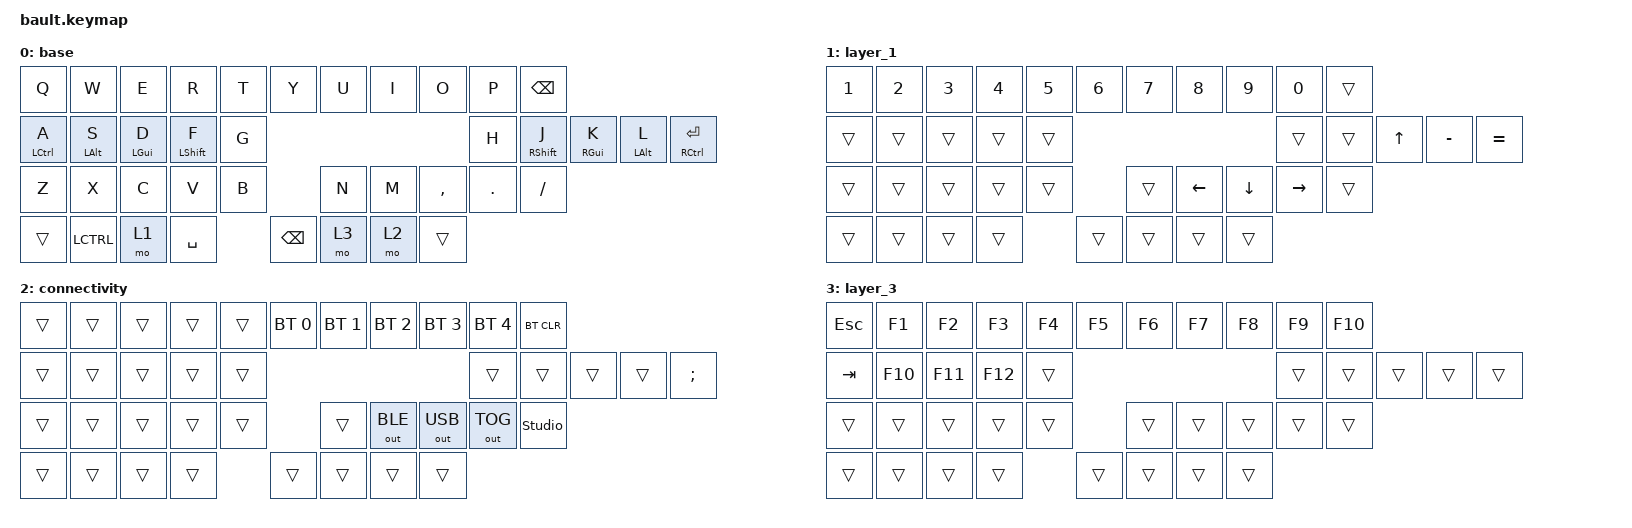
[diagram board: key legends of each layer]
#include <behaviors.dtsi>
#include <dt-bindings/zmk/keys.h>
#include <dt-bindings/zmk/bt.h>
#include <dt-bindings/zmk/outputs.h>

/ {

    behaviors {
        hm: homerow_mods {
            compatible = "zmk,behavior-hold-tap";
            display-name = "Homerow Mods";
            bindings = <&kp>, <&kp>;

            #binding-cells = <2>;
            tapping-term-ms = <200>;
            quick-tap-ms = <180>;
            require-prior-idle-ms = <0>;
            flavor = "tap-preferred";
        };
    };


    keymap {
        compatible = "zmk,keymap";

        base {
            bindings = <
                &kp Q      &kp W      &kp E      &kp R      &kp T      &kp Y      &kp U      &kp I      &kp O      &kp P      &kp BACKSPACE
                &hm LEFT_CONTROL A  &hm LEFT_ALT S  &hm LGUI D  &hm LEFT_SHIFT F  &kp G      &kp H      &hm RIGHT_SHIFT J  &hm RIGHT_GUI K  &hm LEFT_ALT L  &hm RCTRL ENTER
                &kp Z      &kp X      &kp C      &kp V      &kp B      &kp N      &kp M      &kp COMMA      &kp PERIOD      &kp SLASH
                &trans      &LCTRL      &mo 1      &kp SPACE      &kp BACKSPACE      &mo 3      &mo 2      &trans
            >;
        };


        layer_1 {
            bindings = <
                &kp N1  &kp N2  &kp N3  &kp N4  &kp N5  &kp N6  &kp N7    &kp N8    &kp N9     &kp N0     &trans
                &trans  &trans  &trans  &trans  &trans  &trans  &trans    &kp UP    &kp MINUS  &kp EQUAL
                &trans  &trans  &trans  &trans  &trans  &trans  &kp LEFT  &kp DOWN  &kp RIGHT  &trans
                &trans   &trans  &trans  &trans  &trans       &trans         &trans &trans
            >;
        };


        connectivity {
            bindings = <
                &trans  &trans  &trans  &trans  &trans  &bt BT_SEL 0  &bt BT_SEL 1  &bt BT_SEL 2  &bt BT_SEL 3  &bt BT_SEL 4  &bt BT_CLR
                &trans  &trans  &trans  &trans  &trans  &trans        &trans        &trans        &trans        &kp SEMICOLON
                &trans  &trans  &trans  &trans  &trans  &trans    &out OUT_BLE  &out OUT_USB  &out OUT_TOG  &studio_unlock
                &trans   &trans  &trans  &trans  &trans        &trans        &trans &trans
            >;
        };


        layer_3 {
            bindings = <
                &kp ESC  &kp F1  &kp F2  &kp F3  &kp F4  &kp F5  &kp F6  &kp F7    &kp F8    &kp F9     &kp F10
                &kp TAB  &kp F10  &kp F11  &kp F12  &trans  &trans &trans &trans &trans &trans
                &trans  &trans  &trans  &trans  &trans  &trans &trans &trans &trans &trans
                &trans   &trans  &trans  &trans  &trans        &trans        &trans &trans
            >;
        };
    };
};
